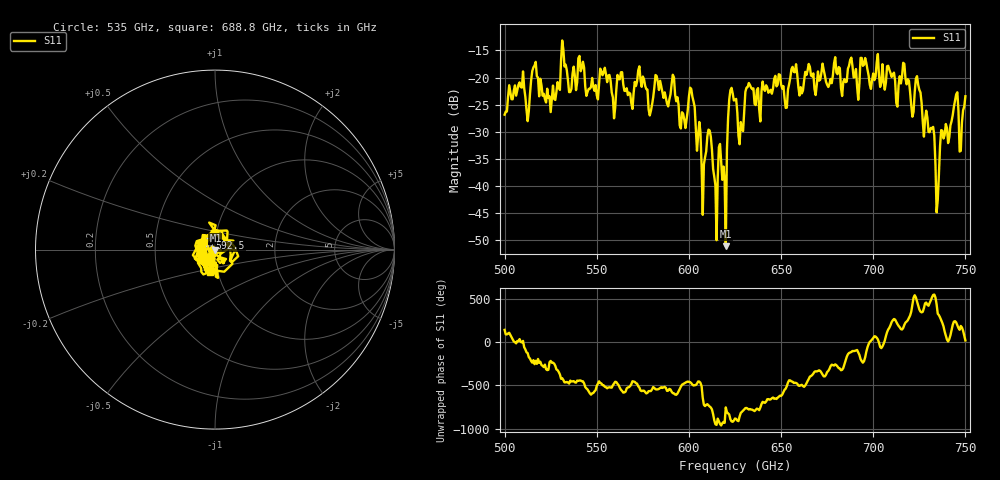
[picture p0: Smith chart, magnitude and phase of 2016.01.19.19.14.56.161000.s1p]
!Created with skrf (http://scikit-rf.org).
# GHz S RI R 50.0
!freq ReS11 ImS11
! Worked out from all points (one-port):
!   401 points, 500 GHz to 750 GHz, reference 50 ohm
!   lowest |S11| = -51.1 dB at 620 GHz (marker M1), VSWR 1.01, Z = 50.2 - j0.158 ohm
!   |S11| at or under -10 dB: start of sweep to end of sweep
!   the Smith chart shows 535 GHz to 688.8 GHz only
!   S11 on the Smith chart (normalised r, x): 535 GHz: 0.92, -0.12; 592.5 GHz: 0.94, +0.12; 688.8 GHz: 0.92, -0.23
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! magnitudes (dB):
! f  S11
! 500 GHz  -26.9
! 508.8 GHz  -21.8
! 512.5 GHz  -28.0
! 516.2 GHz  -17.8
! 526.2 GHz  -21.5
! 531.2 GHz  -13.2
! 535 GHz  -22.7
! 559.4 GHz  -27.5
! 562.5 GHz  -20.3
! 592.5 GHz  -23.2
! 593.8 GHz  -23.6
! 601.9 GHz  -23.5
! 608.1 GHz  -36.0
! 611.2 GHz  -29.8
! 614.4 GHz  -39.9
! 620 GHz  -51.1
! 622.5 GHz  -22.4
! 625 GHz  -24.1
! 628.1 GHz  -28.2
! 631.9 GHz  -21.8
! 656.2 GHz  -18.0
! 687.5 GHz  -16.7
! 688.8 GHz  -17.9
! 718.8 GHz  -20.3
! 724.4 GHz  -21.3
! 735 GHz  -42.6
! 738.1 GHz  -31.2
! 750 GHz  -23.4
